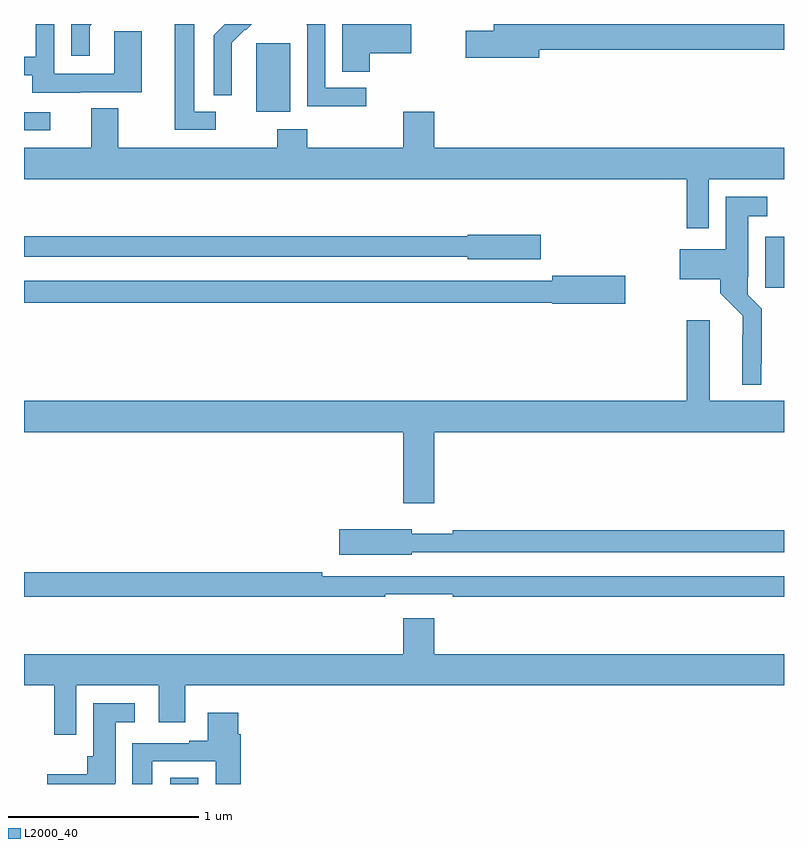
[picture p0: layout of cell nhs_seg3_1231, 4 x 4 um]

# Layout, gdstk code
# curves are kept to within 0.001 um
import gdstk
lib = gdstk.Library(unit=1e-6, precision=1e-09)
def R(c, l, rs):  # rectangles x0, y0, x1, y1
    for r in rs: c.add(gdstk.rectangle(r[:2], r[2:], *l))
def P(c, l, *ps):  # polygons
    for p in ps: c.add(gdstk.Polygon(p, *l))
L2000_40 = (2000, 40)

nhs_seg3_1231 = lib.new_cell('nhs_seg3_1231')
R(nhs_seg3_1231, L2000_40, [(175.769,696.4,175.918,696.434), (178.901,699.012,179,699.279), (175,699.84,175.138,699.936), (176.222,699.938,176.401,700.299)])
P(nhs_seg3_1231, L2000_40, [(176.819,700.246),(177.037,700.246),(177.037,700.4),(176.675,700.4),(176.675,700.15),(176.819,700.15)],
  [(177.712,700.264),(179,700.264),(179,700.4),(177.473,700.4),(177.473,700.364),(177.324,700.364),(177.324,700.222),(177.712,700.222)],
  [(176.094,700.178),(176.093,700.178),(176.093,700.301),(176.163,700.371),(176.166,700.368),(176.198,700.4),(176.056,700.4),(175.998,700.342),(175.998,700.024),(176.094,700.024)],
  [(176.8,700.065),(176.586,700.065),(176.586,700.4),(176.488,700.4),(176.488,700.396),(176.49,700.396),(176.49,699.967),(176.8,699.967)],
  [(175.297,700.041),(175.621,700.041),(175.621,700.361),(175.476,700.361),(175.476,700.137),(175.158,700.137),(175.158,700.4),(175.062,700.4),(175.062,700.227),(175,700.227),(175,700.131),(175.043,700.131),(175.043,700.037),(175.297,700.037)],
  [(176.008,699.939),(175.897,699.939),(175.897,700.4),(175.793,700.4),(175.793,699.843),(176.008,699.843)],
  [(175.345,700.389),(175.356,700.4),(175.248,700.4),(175.248,700.233),(175.345,700.233)],
  [(178.605,699.584),(179,699.584),(179,699.748),(177.16,699.748),(177.16,699.937),(176.996,699.937),(176.996,699.748),(176.492,699.748),(176.492,699.847),(176.332,699.847),(176.332,699.748),(175.495,699.748),(175.495,699.956),(175.355,699.956),(175.355,699.748),(175,699.748),(175,699.584),(178.489,699.584),(178.489,699.324),(178.605,699.324)],
  [(178.879,698.611),(178.883,698.611),(178.883,698.902),(178.809,698.976),(178.809,699.07),(178.813,699.07),(178.813,699.389),(178.912,699.389),(178.912,699.49),(178.694,699.49),(178.694,699.214),(178.452,699.214),(178.452,699.056),(178.664,699.056),(178.664,698.982),(178.782,698.864),(178.781,698.501),(178.879,698.501)],
  [(177.721,699.291),(177.336,699.291),(177.336,699.283),(175,699.283),(175,699.174),(177.336,699.174),(177.336,699.161),(177.721,699.161)],
  [(178.165,699.074),(177.78,699.074),(177.78,699.048),(175,699.048),(175,698.932),(177.78,698.932),(177.78,698.927),(178.165,698.927)],
  [(177.16,698.252),(179,698.252),(179,698.416),(178.609,698.416),(178.609,698.842),(178.487,698.842),(178.487,698.416),(175,698.416),(175,698.252),(176.996,698.252),(176.996,697.878),(177.16,697.878)],
  [(177.042,697.62),(179,697.62),(179,697.736),(177.256,697.736),(177.256,697.717),(177.042,697.717),(177.042,697.742),(176.658,697.742),(176.658,697.607),(177.042,697.607)],
  [(176.9,697.398),(177.256,697.398),(177.256,697.386),(179,697.386),(179,697.494),(176.57,697.494),(176.57,697.514),(175,697.514),(175,697.386),(176.9,697.386)],
  [(175.275,696.92),(175.709,696.92),(175.709,696.726),(175.849,696.726),(175.849,696.92),(179,696.92),(179,697.084),(177.16,697.084),(177.16,697.273),(176.996,697.273),(176.996,697.084),(175,697.084),(175,696.92),(175.159,696.92),(175.159,696.66),(175.275,696.66)],
  [(175.479,696.406),(175.483,696.406),(175.483,696.725),(175.582,696.725),(175.582,696.826),(175.364,696.826),(175.364,696.546),(175.334,696.546),(175.334,696.451),(175.122,696.451),(175.122,696.4),(175.479,696.4)],
  [(175.675,696.519),(176.009,696.519),(176.009,696.4),(176.141,696.4),(176.141,696.662),(176.128,696.662),(176.128,696.775),(175.967,696.775),(175.967,696.628),(175.871,696.628),(175.871,696.615),(175.571,696.615),(175.571,696.4),(175.675,696.4)])

lib.write_gds('nhs_seg3_1231.gds')
